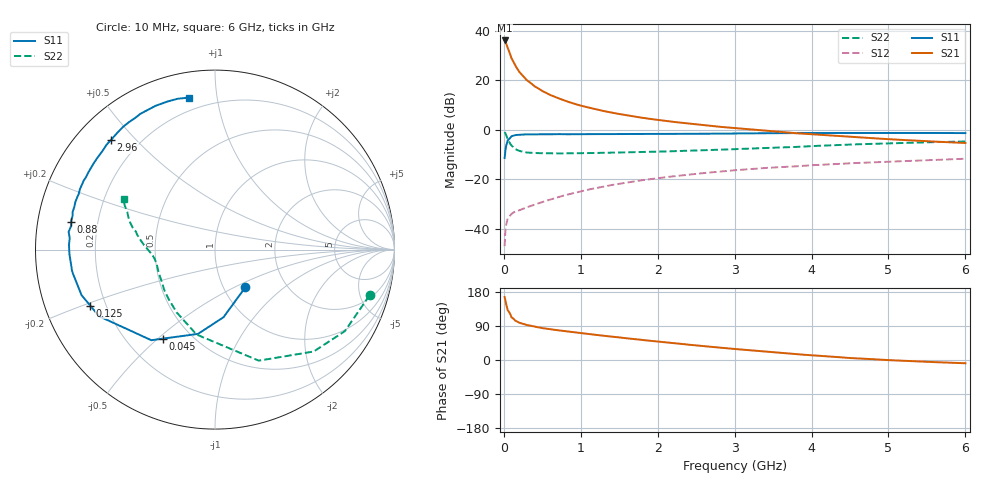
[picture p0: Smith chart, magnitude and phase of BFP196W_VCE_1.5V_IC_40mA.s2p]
! Infineon Technologies  Discrete & RF Semiconductors
! BFP196W
! VCE = 1.5 V,  IC =  40mA
! Common Emitter S-Parameters:  Jan 2016
# GHz  S  MA  R  50
!  f  S11  S21  S12  S22
! GHz  MAG  ANG  MAG  ANG  MAG  ANG  MAG  ANG
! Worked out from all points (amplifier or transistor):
!   210 points, 10 MHz to 6 GHz, reference 50 ohm
!   highest |S21| = 36.1 dB at 10 MHz (marker M1)
!   |S21| within 3 dB of that: start of sweep to 49.83 MHz
!   unconditionally stable (mu >= 1): 595.5 MHz to 3.348 GHz
!   at 185 MHz: K = 0.52, MSG = 28.4 dB, |S12| = -32.6 dB
!   at 1.52 GHz: K = 1.13, MAG = 11.8 dB, |S12| = -21.7 dB
!   at 6 GHz: K = 0.97, MSG = 3.2 dB, |S12| = -11.7 dB
!   S11 on the Smith chart (normalised r, x): 10 MHz: 1.26, -0.57; 45 MHz: 0.35, -0.52; 125 MHz: 0.14, -0.21; 880 MHz: 0.10, +0.10; 2.96 GHz: 0.10, +0.43; 6 GHz: 0.13, +0.83
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0.01  0.2697 -51.2  63.51 166.3  0.0045 77.3  0.898 -16.5
0.02  0.3796 -82.8  60.71 156.2  0.0089 68.9  0.8546 -32.1
0.03  0.4791 -101.4  55.76 146.4  0.0121 60.3  0.7905 -45.9
0.045  0.5745 -120.3  47.27 135.8  0.0151 51.0  0.6854 -62.1
0.05  0.6171 -125.1  44.89 131.4  0.0162 48.7  0.665 -68.5
0.1  0.7452 -150.1  27.75 112.7  0.0202 38.1  0.4841 -102.3
0.125  0.762 -155.8  23.53 108.9  0.0214 36.9  0.4405 -111.1
0.15  0.7859 -161.2  19.46 103.5  0.0226 35.8  0.4094 -121.6
0.2  0.7937 -167.1  14.8 98.5  0.0238 37.3  0.3768 -133.6
0.26  0.8052 -171.6  11.61 94.5  0.026 40.4  0.359 -142.6
0.3  0.8058 -173.8  9.997 92.3  0.0274 42.5  0.3485 -147.4
0.4  0.8116 -178.4  7.556 87.8  0.0309 46.2  0.3408 -154.8
0.5  0.8139 178.1  6.078 84.2  0.0349 50.0  0.3379 -159.7
0.7  0.8215 173.1  4.387 78.5  0.0435 54.8  0.3346 -165.4
0.88  0.8162 169.0  3.493 73.9  0.0517 57.4  0.3368 -168.5
1.02  0.8164 166.5  3.018 70.6  0.0583 58.5  0.3387 -170.3
2.02  0.8262 148.7  1.57 48.3  0.1068 57.0  0.3629 -177.9
2.96  0.8423 133.5  1.095 29.9  0.151 49.8  0.4059 174.7
3.1  0.8455 131.3  1.049 27.4  0.1571 48.5  0.4134 173.4
4.1  0.8631 117.6  0.798 11.1  0.1967 40.1  0.477 164.7
5.1  0.8661 107.1  0.635 -1.2  0.231 31.9  0.5374 156.2
6  0.8593 99.8  0.543 -8.6  0.2613 25.4  0.5819 151.0
